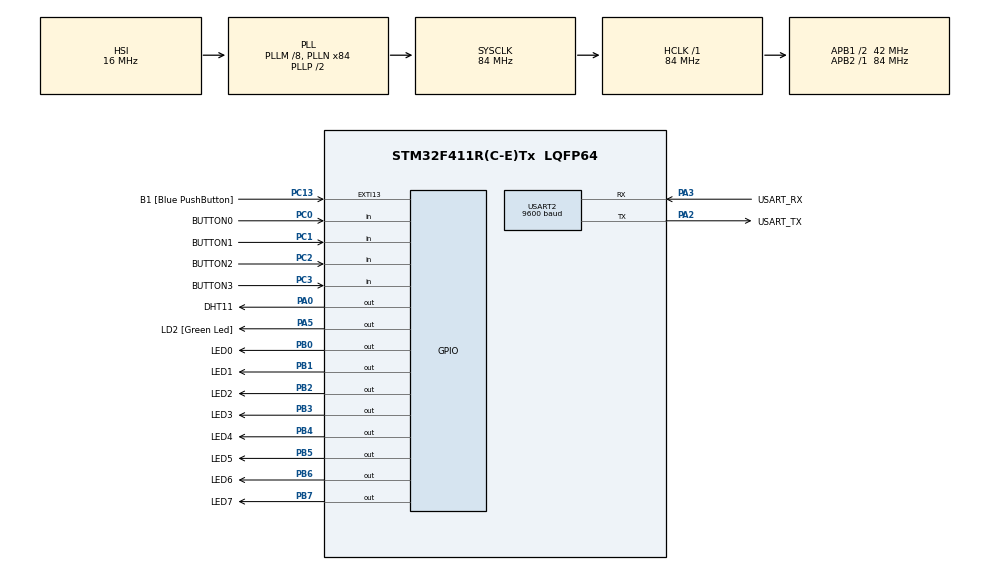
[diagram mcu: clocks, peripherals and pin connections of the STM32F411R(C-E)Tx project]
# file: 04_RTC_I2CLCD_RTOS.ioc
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FREERTOS.Tasks01=defaultTask,24,128,StartDefaultTask,Default,NULL,Dynamic,NULL,NULL;myTask01,8,128,StartTask01,Default,NULL,Dynamic,NULL,NULL;myTask02,8,128,StartTask02,Default,NULL,Dynamic,NULL,NULL
FREERTOS.configUSE_NEWLIB_REENTRANT=1
Mcu.Family=STM32F4
Mcu.Name=STM32F411R(C-E)Tx
Mcu.Package=LQFP64
NVIC.PriorityGroup=NVIC_PRIORITYGROUP_4
NVIC.TIM1_TRG_COM_TIM11_IRQn=true\:5\:0\:false\:false\:true\:false\:false\:true
NVIC.TIM1_UP_TIM10_IRQn=true\:5\:0\:false\:false\:true\:true\:true\:true
NVIC.TimeBase=TIM1_TRG_COM_TIM11_IRQn
NVIC.TimeBaseIP=TIM11
NVIC.USART2_IRQn=true\:5\:0\:false\:false\:true\:true\:true\:true
PA0-WKUP.GPIO_Label=DHT11
PA0-WKUP.Signal=GPIO_Output
PA13.GPIO_Label=TMS
PA13.Mode=Serial_Wire
PA13.Signal=SYS_JTMS-SWDIO
PA14.GPIO_Label=TCK
PA14.Mode=Serial_Wire
PA14.Signal=SYS_JTCK-SWCLK
PA2.GPIO_Label=USART_TX
PA2.Mode=Asynchronous
PA2.Signal=USART2_TX
PA3.GPIO_Label=USART_RX
PA3.Mode=Asynchronous
PA3.Signal=USART2_RX
PA5.GPIO_Label=LD2 [Green Led]
PA5.Signal=GPIO_Output
PB0.GPIO_Label=LED0
PB0.Signal=GPIO_Output
PB1.GPIO_Label=LED1
PB1.Signal=GPIO_Output
PB2.GPIO_Label=LED2
PB2.Signal=GPIO_Output
PB3.GPIO_Label=LED3
PB3.Signal=GPIO_Output
PB4.GPIO_Label=LED4
PB4.Signal=GPIO_Output
PB5.GPIO_Label=LED5
PB5.Signal=GPIO_Output
PB6.GPIO_Label=LED6
PB6.Signal=GPIO_Output
PB7.GPIO_Label=LED7
PB7.Signal=GPIO_Output
PC0.GPIO_Label=BUTTON0
PC0.Signal=GPIO_Input
PC1.GPIO_Label=BUTTON1
PC1.Signal=GPIO_Input
PC13-ANTI_TAMP.GPIO_Label=B1 [Blue PushButton]
PC13-ANTI_TAMP.GPIO_ModeDefaultEXTI=GPIO_MODE_IT_FALLING
PC13-ANTI_TAMP.Signal=GPXTI13
PC14-OSC32_IN.Mode=LSE-External-Oscillator
PC14-OSC32_IN.Signal=RCC_OSC32_IN
PC15-OSC32_OUT.Mode=LSE-External-Oscillator
PC15-OSC32_OUT.Signal=RCC_OSC32_OUT
PC2.GPIO_Label=BUTTON2
PC2.Signal=GPIO_Input
PC3.GPIO_Label=BUTTON3
PC3.Signal=GPIO_Input
PH0\ -\ OSC_IN.Mode=HSE-External-Clock-Source
PH0\ -\ OSC_IN.Signal=RCC_OSC_IN
PH1\ -\ OSC_OUT.Mode=HSE-External-Clock-Source
PH1\ -\ OSC_OUT.Signal=RCC_OSC_OUT
ProjectManager.HeapSize=0x200
ProjectManager.StackSize=0x400
ProjectManager.TargetToolchain=STM32CubeIDE
RCC.48MHZClocksFreq_Value=42000000
RCC.AHBFreq_Value=84000000
RCC.APB1CLKDivider=RCC_HCLK_DIV2
RCC.APB1Freq_Value=42000000
RCC.APB1TimFreq_Value=84000000
RCC.APB2Freq_Value=84000000
RCC.APB2TimFreq_Value=84000000
RCC.CortexFreq_Value=84000000
RCC.FLatency-AdvancedSettings=FLASH_LATENCY_2
RCC.HCLKFreq_Value=84000000
RCC.HSE_VALUE=8000000
RCC.HSI_VALUE=16000000
RCC.PLLM=8
RCC.PLLN=84
RCC.SYSCLKFreq_VALUE=84000000
RCC.SYSCLKSource=RCC_SYSCLKSOURCE_PLLCLK
RCC.VCOOutputFreq_Value=168000000
RTC.Date=8
RTC.Hours=14
RTC.Minutes=38
RTC.Month=RTC_MONTH_OCTOBER
RTC.WeekDay=RTC_WEEKDAY_TUESDAY
TIM10.Period=1000-1
TIM10.Prescaler=84-1
TIM2.Prescaler=84-1
USART2.BaudRate=9600
USART2.VirtualMode=VM_ASYNC
VP_FREERTOS_VS_CMSIS_V2.Mode=CMSIS_V2
VP_RTC_VS_RTC_Activate.Mode=RTC_Enabled
VP_RTC_VS_RTC_Calendar.Mode=RTC_Calendar
VP_SYS_VS_tim11.Mode=TIM11
VP_TIM10_VS_ClockSourceINT.Mode=Enable_Timer
VP_TIM2_VS_ClockSourceINT.Mode=Internal
board=NUCLEO-F411RE

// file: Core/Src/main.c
/* USER CODE BEGIN Header */
/**
  ******************************************************************************
  * @file           : main.c
  * @brief          : Main program body
  ******************************************************************************
  * @attention
  *
  * <h2><center>&copy; Copyright (c) 2024 STMicroelectronics.
  * All rights reserved.</center></h2>
  *
  * This software component is licensed by ST under BSD 3-Clause license,
  * the "License"; You may not use this file except in compliance with the
  * License. You may obtain a copy of the License at:
  *                        opensource.org/licenses/BSD-3-Clause
  *
  ******************************************************************************
  */
/* USER CODE END Header */
#include "main.h"
#include "cmsis_os.h"

RTC_HandleTypeDef hrtc;

TIM_HandleTypeDef htim2;
TIM_HandleTypeDef htim10;

UART_HandleTypeDef huart2;

/* Definitions for defaultTask */
osThreadId_t defaultTaskHandle;
const osThreadAttr_t defaultTask_attributes = {
  .name = "defaultTask",
  .stack_size = 128 * 4,
  .priority = (osPriority_t) osPriorityNormal,
};
/* Definitions for myTask01 */
osThreadId_t myTask01Handle;
const osThreadAttr_t myTask01_attributes = {
  .name = "myTask01",
  .stack_size = 128 * 4,
  .priority = (osPriority_t) osPriorityLow,
};
/* Definitions for myTask02 */
osThreadId_t myTask02Handle;
const osThreadAttr_t myTask02_attributes = {
  .name = "myTask02",
  .stack_size = 128 * 4,
  .priority = (osPriority_t) osPriorityLow,
};
/* USER CODE BEGIN PV */
volatile int TIM10_1ms_counter = 0;  // ADD_PSJ_0930
volatile int TIM10_1ms_counter1 = 0;
volatile int TIM10_DHT11_counter = 0;
uint8_t rx_data;
/* USER CODE END PV */

void SystemClock_Config(void);
static void MX_GPIO_Init(void);
static void MX_USART2_UART_Init(void);
static void MX_TIM10_Init(void);
static void MX_TIM2_Init(void);
static void MX_RTC_Init(void);
void StartDefaultTask(void *argument);
void StartTask01(void *argument);
void StartTask02(void *argument);

/* USER CODE BEGIN PFP */
extern void led_main(void);
extern void ledbar0_toggle(void);
extern void button_check(void);
extern void pc_command_processing(void);
extern void delay_us(unsigned int us);
//extern void DHT11_main(void);
extern void DHT11_processing(void);
extern void DHT11_Init(void);
extern void get_rtc_date_time(void);
/* USER CODE END PFP */

/* USER CODE BEGIN 0 */
//------------ printf start -----------------------
#ifdef __GNUC__    // Add for printf
/* With GCC, small printf (option LD Linker->Libraries->Small printf
   set to 'Yes') calls __io_putchar() */
#define PUTCHAR_PROTOTYPE int __io_putchar(int ch)
#else
#define PUTCHAR_PROTOTYPE int fputc(int ch, FILE *f)
#endif /* __GNUC__ */
/**
  * @brief  Retargets the C library printf function to the USART.
  * @param  None
  * @retval None
  */
PUTCHAR_PROTOTYPE   // Add for printf
{
  /* Place your implementation of fputc here */
  /* e.g. write a character to the USART2 and Loop until the end of transmission */
  HAL_UART_Transmit(&huart2, (uint8_t *)&ch, 1, 0xFFFF);

  return ch;
}
//-------------------- printf end --------------------
/* USER CODE END 0 */

int main(void)
{

  /* MCU Configuration--------------------------------------------------------*/

  /* Reset of all peripherals, Initializes the Flash interface and the Systick. */
  HAL_Init();

  /* Configure the system clock */
  SystemClock_Config();

  /* Initialize all configured peripherals */
  MX_GPIO_Init();
  MX_USART2_UART_Init();
  MX_TIM10_Init();
  MX_TIM2_Init();
  MX_RTC_Init();
  /* USER CODE BEGIN 2 */
  HAL_TIM_Base_Start_IT(&htim10); // ADD_0930
  HAL_TIM_Base_Start_IT(&htim2); // ADD_0930
  HAL_UART_Receive_IT(&huart2, &rx_data, 1);
printf("HAL_TIM_Base_Start_IT !!!\n");
DHT11_Init();
//led_main();
//DHT11_main(); // for checking DHT11 operation temporary.
  /* USER CODE END 2 */

  /* Init scheduler */
  osKernelInitialize();

  /* Create the thread(s) */
  /* creation of defaultTask */
  defaultTaskHandle = osThreadNew(StartDefaultTask, NULL, &defaultTask_attributes);

  /* creation of myTask01 */
  myTask01Handle = osThreadNew(StartTask01, NULL, &myTask01_attributes);

  /* creation of myTask02 */
  myTask02Handle = osThreadNew(StartTask02, NULL, &myTask02_attributes);

  /* Start scheduler */
  osKernelStart();

  /* We should never get here as control is now taken by the scheduler */
  /* Infinite loop */
  /* USER CODE BEGIN WHILE */
  while (1)
  {
	  HAL_GPIO_TogglePin(GPIOA, GPIO_PIN_5); //Ctrl + Space
	  HAL_Delay(100);
    /* USER CODE END WHILE */

  }
}

void SystemClock_Config(void)
{
  RCC_OscInitTypeDef RCC_OscInitStruct = {0};
  RCC_ClkInitTypeDef RCC_ClkInitStruct = {0};

  /** Configure the main internal regulator output voltage
  */
  __HAL_RCC_PWR_CLK_ENABLE();
  __HAL_PWR_VOLTAGESCALING_CONFIG(PWR_REGULATOR_VOLTAGE_SCALE1);
  /** Initializes the RCC Oscillators according to the specified parameters
  * in the RCC_OscInitTypeDef structure.
  */
  RCC_OscInitStruct.OscillatorType = RCC_OSCILLATORTYPE_HSI|RCC_OSCILLATORTYPE_LSI;
  RCC_OscInitStruct.HSIState = RCC_HSI_ON;
  RCC_OscInitStruct.HSICalibrationValue = RCC_HSICALIBRATION_DEFAULT;
  RCC_OscInitStruct.LSIState = RCC_LSI_ON;
  RCC_OscInitStruct.PLL.PLLState = RCC_PLL_ON;
  RCC_OscInitStruct.PLL.PLLSource = RCC_PLLSOURCE_HSI;
  RCC_OscInitStruct.PLL.PLLM = 8;
  RCC_OscInitStruct.PLL.PLLN = 84;
  RCC_OscInitStruct.PLL.PLLP = RCC_PLLP_DIV2;
  RCC_OscInitStruct.PLL.PLLQ = 4;
  if (HAL_RCC_OscConfig(&RCC_OscInitStruct) != HAL_OK)
  {
    Error_Handler();
  }
  /** Initializes the CPU, AHB and APB buses clocks
  */
  RCC_ClkInitStruct.ClockType = RCC_CLOCKTYPE_HCLK|RCC_CLOCKTYPE_SYSCLK
                              |RCC_CLOCKTYPE_PCLK1|RCC_CLOCKTYPE_PCLK2;
  RCC_ClkInitStruct.SYSCLKSource = RCC_SYSCLKSOURCE_PLLCLK;
  RCC_ClkInitStruct.AHBCLKDivider = RCC_SYSCLK_DIV1;
  RCC_ClkInitStruct.APB1CLKDivider = RCC_HCLK_DIV2;
  RCC_ClkInitStruct.APB2CLKDivider = RCC_HCLK_DIV1;

  if (HAL_RCC_ClockConfig(&RCC_ClkInitStruct, FLASH_LATENCY_2) != HAL_OK)
  {
    Error_Handler();
  }
}

static void MX_RTC_Init(void)
{

  RTC_TimeTypeDef sTime = {0};
  RTC_DateTypeDef sDate = {0};

  /** Initialize RTC Only
  */
  hrtc.Instance = RTC;
  hrtc.Init.HourFormat = RTC_HOURFORMAT_24;
  hrtc.Init.AsynchPrediv = 127;
  hrtc.Init.SynchPrediv = 255;
  hrtc.Init.OutPut = RTC_OUTPUT_DISABLE;
  hrtc.Init.OutPutPolarity = RTC_OUTPUT_POLARITY_HIGH;
  hrtc.Init.OutPutType = RTC_OUTPUT_TYPE_OPENDRAIN;
  if (HAL_RTC_Init(&hrtc) != HAL_OK)
  {
    Error_Handler();
  }

  /** Initialize RTC and set the Time and Date
  */
  sTime.Hours = 0x14;
  sTime.Minutes = 0x38;
  sTime.Seconds = 0x0;
  sTime.DayLightSaving = RTC_DAYLIGHTSAVING_NONE;
  sTime.StoreOperation = RTC_STOREOPERATION_RESET;
  if (HAL_RTC_SetTime(&hrtc, &sTime, RTC_FORMAT_BCD) != HAL_OK)
  {
    Error_Handler();
  }
  sDate.WeekDay = RTC_WEEKDAY_TUESDAY;
  sDate.Month = RTC_MONTH_OCTOBER;
  sDate.Date = 0x8;
  sDate.Year = 0x24;

  if (HAL_RTC_SetDate(&hrtc, &sDate, RTC_FORMAT_BCD) != HAL_OK)
  {
    Error_Handler();
  }

}

static void MX_TIM2_Init(void)
{

  TIM_ClockConfigTypeDef sClockSourceConfig = {0};
  TIM_MasterConfigTypeDef sMasterConfig = {0};

  htim2.Instance = TIM2;
  htim2.Init.Prescaler = 84-1;
  htim2.Init.CounterMode = TIM_COUNTERMODE_UP;
  htim2.Init.Period = 4294967295;
  htim2.Init.ClockDivision = TIM_CLOCKDIVISION_DIV1;
  htim2.Init.AutoReloadPreload = TIM_AUTORELOAD_PRELOAD_DISABLE;
  if (HAL_TIM_Base_Init(&htim2) != HAL_OK)
  {
    Error_Handler();
  }
  sClockSourceConfig.ClockSource = TIM_CLOCKSOURCE_INTERNAL;
  if (HAL_TIM_ConfigClockSource(&htim2, &sClockSourceConfig) != HAL_OK)
  {
    Error_Handler();
  }
  sMasterConfig.MasterOutputTrigger = TIM_TRGO_RESET;
  sMasterConfig.MasterSlaveMode = TIM_MASTERSLAVEMODE_DISABLE;
  if (HAL_TIMEx_MasterConfigSynchronization(&htim2, &sMasterConfig) != HAL_OK)
  {
    Error_Handler();
  }

}

static void MX_TIM10_Init(void)
{

  htim10.Instance = TIM10;
  htim10.Init.Prescaler = 84-1;
  htim10.Init.CounterMode = TIM_COUNTERMODE_UP;
  htim10.Init.Period = 1000-1;
  htim10.Init.ClockDivision = TIM_CLOCKDIVISION_DIV1;
  htim10.Init.AutoReloadPreload = TIM_AUTORELOAD_PRELOAD_DISABLE;
  if (HAL_TIM_Base_Init(&htim10) != HAL_OK)
  {
    Error_Handler();
  }

}

static void MX_USART2_UART_Init(void)
{

  huart2.Instance = USART2;
  huart2.Init.BaudRate = 9600;
  huart2.Init.WordLength = UART_WORDLENGTH_8B;
  huart2.Init.StopBits = UART_STOPBITS_1;
  huart2.Init.Parity = UART_PARITY_NONE;
  huart2.Init.Mode = UART_MODE_TX_RX;
  huart2.Init.HwFlowCtl = UART_HWCONTROL_NONE;
  huart2.Init.OverSampling = UART_OVERSAMPLING_16;
  if (HAL_UART_Init(&huart2) != HAL_OK)
  {
    Error_Handler();
  }

}

static void MX_GPIO_Init(void)
{
  GPIO_InitTypeDef GPIO_InitStruct = {0};

  /* GPIO Ports Clock Enable */
  __HAL_RCC_GPIOC_CLK_ENABLE();
  __HAL_RCC_GPIOH_CLK_ENABLE();
  __HAL_RCC_GPIOA_CLK_ENABLE();
  __HAL_RCC_GPIOB_CLK_ENABLE();

  /*Configure GPIO pin Output Level */
  HAL_GPIO_WritePin(GPIOA, DHT11_Pin|LD2_Pin, GPIO_PIN_RESET);

  /*Configure GPIO pin Output Level */
  HAL_GPIO_WritePin(GPIOB, LED0_Pin|LED1_Pin|LED2_Pin|LED3_Pin
                          |LED4_Pin|LED5_Pin|LED6_Pin|LED7_Pin, GPIO_PIN_RESET);

  /*Configure GPIO pin : B1_Pin */
  GPIO_InitStruct.Pin = B1_Pin;
  GPIO_InitStruct.Mode = GPIO_MODE_IT_FALLING;
  GPIO_InitStruct.Pull = GPIO_NOPULL;
  HAL_GPIO_Init(B1_GPIO_Port, &GPIO_InitStruct);

  /*Configure GPIO pins : BUTTON0_Pin BUTTON1_Pin BUTTON2_Pin BUTTON3_Pin */
  GPIO_InitStruct.Pin = BUTTON0_Pin|BUTTON1_Pin|BUTTON2_Pin|BUTTON3_Pin;
  GPIO_InitStruct.Mode = GPIO_MODE_INPUT;
  GPIO_InitStruct.Pull = GPIO_NOPULL;
  HAL_GPIO_Init(GPIOC, &GPIO_InitStruct);

  /*Configure GPIO pins : DHT11_Pin LD2_Pin */
  GPIO_InitStruct.Pin = DHT11_Pin|LD2_Pin;
  GPIO_InitStruct.Mode = GPIO_MODE_OUTPUT_PP;
  GPIO_InitStruct.Pull = GPIO_NOPULL;
  GPIO_InitStruct.Speed = GPIO_SPEED_FREQ_LOW;
  HAL_GPIO_Init(GPIOA, &GPIO_InitStruct);

  /*Configure GPIO pins : LED0_Pin LED1_Pin LED2_Pin LED3_Pin
                           LED4_Pin LED5_Pin LED6_Pin LED7_Pin */
  GPIO_InitStruct.Pin = LED0_Pin|LED1_Pin|LED2_Pin|LED3_Pin
                          |LED4_Pin|LED5_Pin|LED6_Pin|LED7_Pin;
  GPIO_InitStruct.Mode = GPIO_MODE_OUTPUT_PP;
  GPIO_InitStruct.Pull = GPIO_NOPULL;
  GPIO_InitStruct.Speed = GPIO_SPEED_FREQ_LOW;
  HAL_GPIO_Init(GPIOB, &GPIO_InitStruct);

}

void StartDefaultTask(void *argument)
{
  /* USER CODE BEGIN 5 */
  /* Infinite loop */
  for(;;)
  {
	//button_check();
	//DHT11_processing();
    osDelay(1);
  }
  /* USER CODE END 5 */
}

void StartTask01(void *argument)
{
  /* USER CODE BEGIN StartTask01 */
  /* Infinite loop */
  for(;;)
  {
#if 1

	  get_rtc_date_time();
#else
	  //ledbar0_toggle();
	  HAL_GPIO_TogglePin(GPIOA, GPIO_PIN_5);
	  delay_us(50000); // 50ms
#endif
	  osDelay(1);
  }
  /* USER CODE END StartTask01 */
}

void StartTask02(void *argument)
{
  /* USER CODE BEGIN StartTask02 */
  /* Infinite loop */
	for(;;)
	{
		//HAL_GPIO_TogglePin(GPIOA, GPIO_PIN_5); //Ctrl + Space
#if 0 // use timer/counter
		if( TIM10_1ms_counter >= 50)
		{
			HAL_GPIO_TogglePin(GPIOA, GPIO_PIN_5);
			TIM10_1ms_counter = 0;
		}
#endif
		pc_command_processing();
		//led_main();
		osDelay(1);
	}
  /* USER CODE END StartTask02 */
}

void HAL_TIM_PeriodElapsedCallback(TIM_HandleTypeDef *htim)
{
  if (htim->Instance == TIM11) {
    HAL_IncTick();
  }
  /* USER CODE BEGIN Callback 1 */
  if (htim->Instance == TIM10) { // add PSJ 0930
      TIM10_1ms_counter++;
      TIM10_1ms_counter1++;
      TIM10_DHT11_counter++;
   }
  /* USER CODE END Callback 1 */
}

void Error_Handler(void)
{
  __disable_irq();
  while (1)
  {
  }
}

/************************ (C) COPYRIGHT STMicroelectronics *****END OF FILE****/
